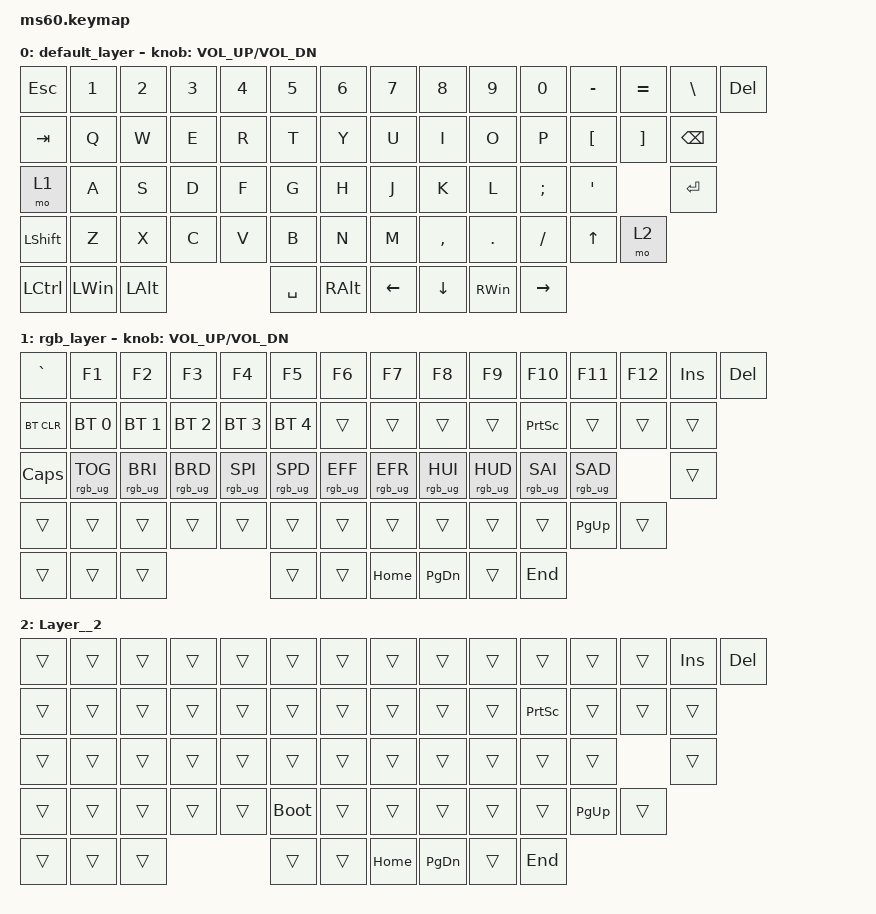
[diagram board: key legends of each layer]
/*
 * Copyright (c) 2021 Nick Winans
 *
 * SPDX-License-Identifier: MIT
 */

#include <behaviors.dtsi>
#include <dt-bindings/zmk/bt.h>
#include <dt-bindings/zmk/keys.h>
#include <dt-bindings/zmk/rgb.h>

/ {
    combos {
        compatible = "zmk,combos";

        new_combo {
            bindings = <&kp TILDE2>;
            key-positions = <42 0>;
        };
    };

    keymap {
        compatible = "zmk,keymap";

        default_layer {
            // -------------------------------------------------------------------------------------------
            // | ESC |  1  |  2  |  3  |  4  |  5  |  6  |  7  |  8  |  9  |  0  |  -  |  =  | BKSP |BKSP|
            // | TAB  |  Q  |  W  |  E  |  R  |  T  |  Y  |  U  |  I  |  O  |  P  |  [  |  ]  |   "|"    |
            // | CAPS  |  A  |  S  |  D  |  F  |  G  |  H  |  J  |  K  |  L  |  ;  |  '  |     ENTER     |
            // |  SHIFT  |  Z  |  X  |  C  |  V  |  B  |  N  |  M  |  ,  |  .  |   SHFT   |  UP  |   /   |
            // |  CTL  |  WIN  |  ALT  |           SPACE             | FN(1) | WIN | LEFT | DOWN | RIGHT |
            // -------------------------------------------------------------------------------------------

            bindings = <
&kp ESCAPE  &kp NUMBER_1        &kp N2  &kp N3  &kp N4     &kp N5    &kp N6    &kp N7     &kp N8         &kp N9     &kp N0  &kp MINUS  &kp EQUAL  &kp BACKSLASH  &kp DEL
   &kp TAB         &kp Q         &kp W   &kp E   &kp R      &kp T     &kp Y     &kp U      &kp I          &kp O      &kp P   &kp LBKT   &kp RBKT  &kp BACKSPACE
     &mo 1         &kp A         &kp S   &kp D   &kp F      &kp G     &kp H     &kp J      &kp K          &kp L   &kp SEMI    &kp SQT                 &kp ENTER
&kp LSHIFT         &kp Z         &kp X   &kp C   &kp V      &kp B     &kp N     &kp M  &kp COMMA        &kp DOT   &kp FSLH     &kp UP      &mo 2
 &kp LCTRL  &kp LEFT_WIN  &kp LEFT_ALT                  &kp SPACE  &kp RALT  &kp LEFT   &kp DOWN  &kp RIGHT_WIN  &kp RIGHT
            >;

            sensor-bindings = <&inc_dec_kp C_VOL_UP C_VOL_DN>;
        };

        rgb_layer {
            // ------------------------------------------------------------------------------------------------
            // | BT CLR | F1  | F2  | F3  | F4  | F5  | F6  | F7  | F8  | F9  | F10 | F11 | F12 | BOOT | BOOT |
            // |  BT 1   |   |  UP |   | HUEUP | SATUP | BRIUP | SPDUP |   |     |    |     |     |  RGB_efect|
            // |   BT 2   | LT |  DN  | RT | HUEDN | SATDN | BRIDN | SPDDN |   |     |   |     |  EFFECT FORW |
            // |    BT 3     |     |      |      |     |     |     |     |     |     |     |                  |
            // |   BT 4  |      |      |             TOG RGB                | PRT SCR |    |    |     |  DEL  |
            // ------------------------------------------------------------------------------------------------

            bindings = <
 &kp GRAVE           &kp F1           &kp F2           &kp F3           &kp F4           &kp F5           &kp F6           &kp F7           &kp F8           &kp F9          &kp F10          &kp F11  &kp F12  &kp INS  &kp DEL
&bt BT_CLR     &bt BT_SEL 0     &bt BT_SEL 1     &bt BT_SEL 2     &bt BT_SEL 3     &bt BT_SEL 4           &trans           &trans           &trans           &trans  &kp PRINTSCREEN           &trans   &trans   &trans
  &kp CAPS  &rgb_ug RGB_TOG  &rgb_ug RGB_BRI  &rgb_ug RGB_BRD  &rgb_ug RGB_SPI  &rgb_ug RGB_SPD  &rgb_ug RGB_EFF  &rgb_ug RGB_EFR  &rgb_ug RGB_HUI  &rgb_ug RGB_HUD  &rgb_ug RGB_SAI  &rgb_ug RGB_SAD            &trans
    &trans           &trans           &trans           &trans           &trans           &trans           &trans           &trans           &trans           &trans           &trans      &kp PAGE_UP   &trans
    &trans           &trans           &trans                                             &trans           &trans         &kp HOME    &kp PAGE_DOWN           &trans          &kp END
            >;

            sensor-bindings = <&inc_dec_kp C_VOL_UP C_VOL_DN>;
        };

        Layer__2 {
            bindings = <
&trans  &trans  &trans  &trans  &trans       &trans  &trans    &trans         &trans  &trans           &trans     &trans  &trans  &kp INS  &kp DEL
&trans  &trans  &trans  &trans  &trans       &trans  &trans    &trans         &trans  &trans  &kp PRINTSCREEN     &trans  &trans   &trans
&trans  &trans  &trans  &trans  &trans       &trans  &trans    &trans         &trans  &trans           &trans     &trans           &trans
&trans  &trans  &trans  &trans  &trans  &bootloader  &trans    &trans         &trans  &trans           &trans  &kp PG_UP  &trans
&trans  &trans  &trans                       &trans  &trans  &kp HOME  &kp PAGE_DOWN  &trans          &kp END
            >;
        };
    };
};
